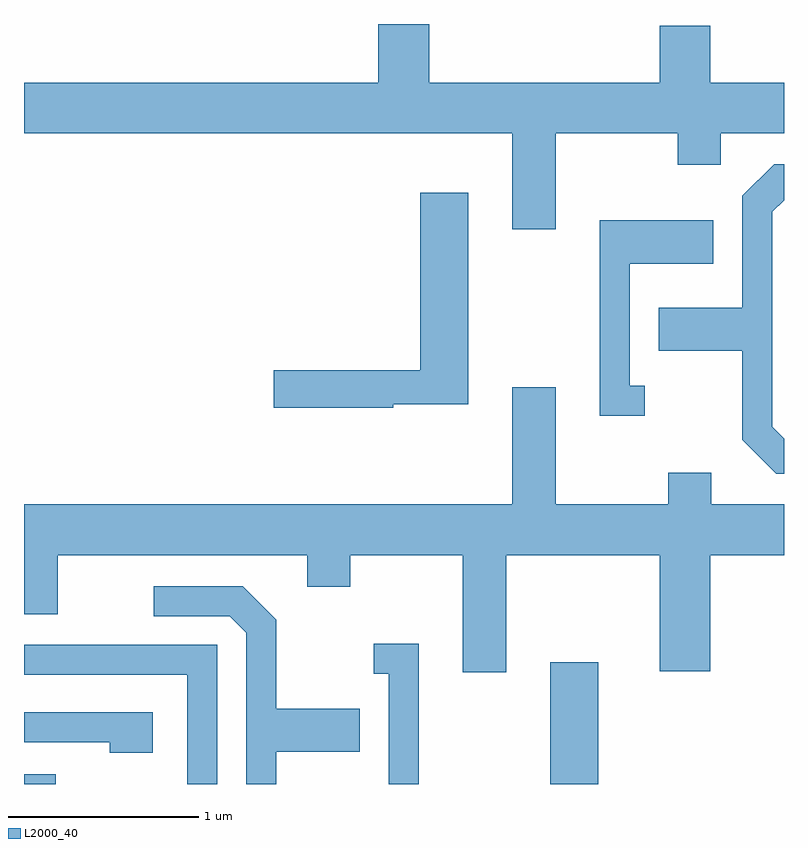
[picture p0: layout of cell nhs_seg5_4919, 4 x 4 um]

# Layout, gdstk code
import gdstk
lib = gdstk.Library(unit=1e-6, precision=1e-09)
def R(c, l, rs):  # rectangles x0, y0, x1, y1
    for r in rs: c.add(gdstk.rectangle(r[:2], r[2:], *l))
def P(c, l, *ps):  # polygons
    for p in ps: c.add(gdstk.Polygon(p, *l))
L2000_40 = (2000, 40)

nhs_seg5_4919 = lib.new_cell('nhs_seg5_4919')
R(nhs_seg5_4919, L2000_40, [(331.611,1420.072,331.778,1420.124), (334.381,1420.072,334.634,1420.714)])
P(nhs_seg5_4919, L2000_40, [(334.409,1423.496),(335.051,1423.496),(335.051,1423.331),(335.279,1423.331),(335.279,1423.496),(335.611,1423.496),(335.611,1423.764),(335.224,1423.764),(335.224,1424.064),(334.956,1424.064),(334.956,1423.764),(333.744,1423.764),(333.744,1424.072),(333.476,1424.072),(333.476,1423.764),(331.611,1423.764),(331.611,1423.496),(334.181,1423.496),(334.181,1422.991),(334.409,1422.991)],
  [(335.611,1421.89),(335.549,1421.952),(335.549,1423.084),(335.611,1423.145),(335.611,1423.334),(335.559,1423.334),(335.391,1423.167),(335.391,1422.579),(334.951,1422.579),(334.951,1422.351),(335.391,1422.351),(335.391,1421.884),(335.569,1421.706),(335.611,1421.706)],
  [(333.554,1422.071),(333.949,1422.071),(333.949,1423.184),(333.696,1423.184),(333.696,1422.249),(332.926,1422.249),(332.926,1422.051),(333.554,1422.051)],
  [(334.878,1422.169),(334.799,1422.169),(334.799,1422.811),(335.239,1422.811),(335.239,1423.039),(334.641,1423.039),(334.641,1422.011),(334.878,1422.011)],
  [(334.149,1421.276),(334.956,1421.276),(334.956,1420.666),(335.224,1420.666),(335.224,1421.276),(335.611,1421.276),(335.611,1421.544),(335.229,1421.544),(335.229,1421.709),(335.001,1421.709),(335.001,1421.544),(334.409,1421.544),(334.409,1422.159),(334.181,1422.159),(334.181,1421.544),(331.611,1421.544),(331.611,1420.966),(331.789,1420.966),(331.789,1421.276),(333.101,1421.276),(333.101,1421.111),(333.329,1421.111),(333.329,1421.276),(333.921,1421.276),(333.921,1420.661),(334.149,1420.661)],
  [(332.939,1420.241),(333.379,1420.241),(333.379,1420.469),(332.939,1420.469),(332.939,1420.937),(332.762,1421.114),(332.293,1421.114),(332.293,1420.956),(332.694,1420.956),(332.781,1420.869),(332.781,1420.072),(332.939,1420.072)],
  [(333.689,1420.809),(333.453,1420.809),(333.453,1420.651),(333.531,1420.651),(333.531,1420.072),(333.689,1420.072)],
  [(332.629,1420.804),(331.611,1420.804),(331.611,1420.646),(332.471,1420.646),(332.471,1420.072),(332.629,1420.072)],
  [(332.289,1420.449),(331.611,1420.449),(331.611,1420.291),(332.061,1420.291),(332.061,1420.236),(332.289,1420.236)])

lib.write_gds('nhs_seg5_4919.gds')
